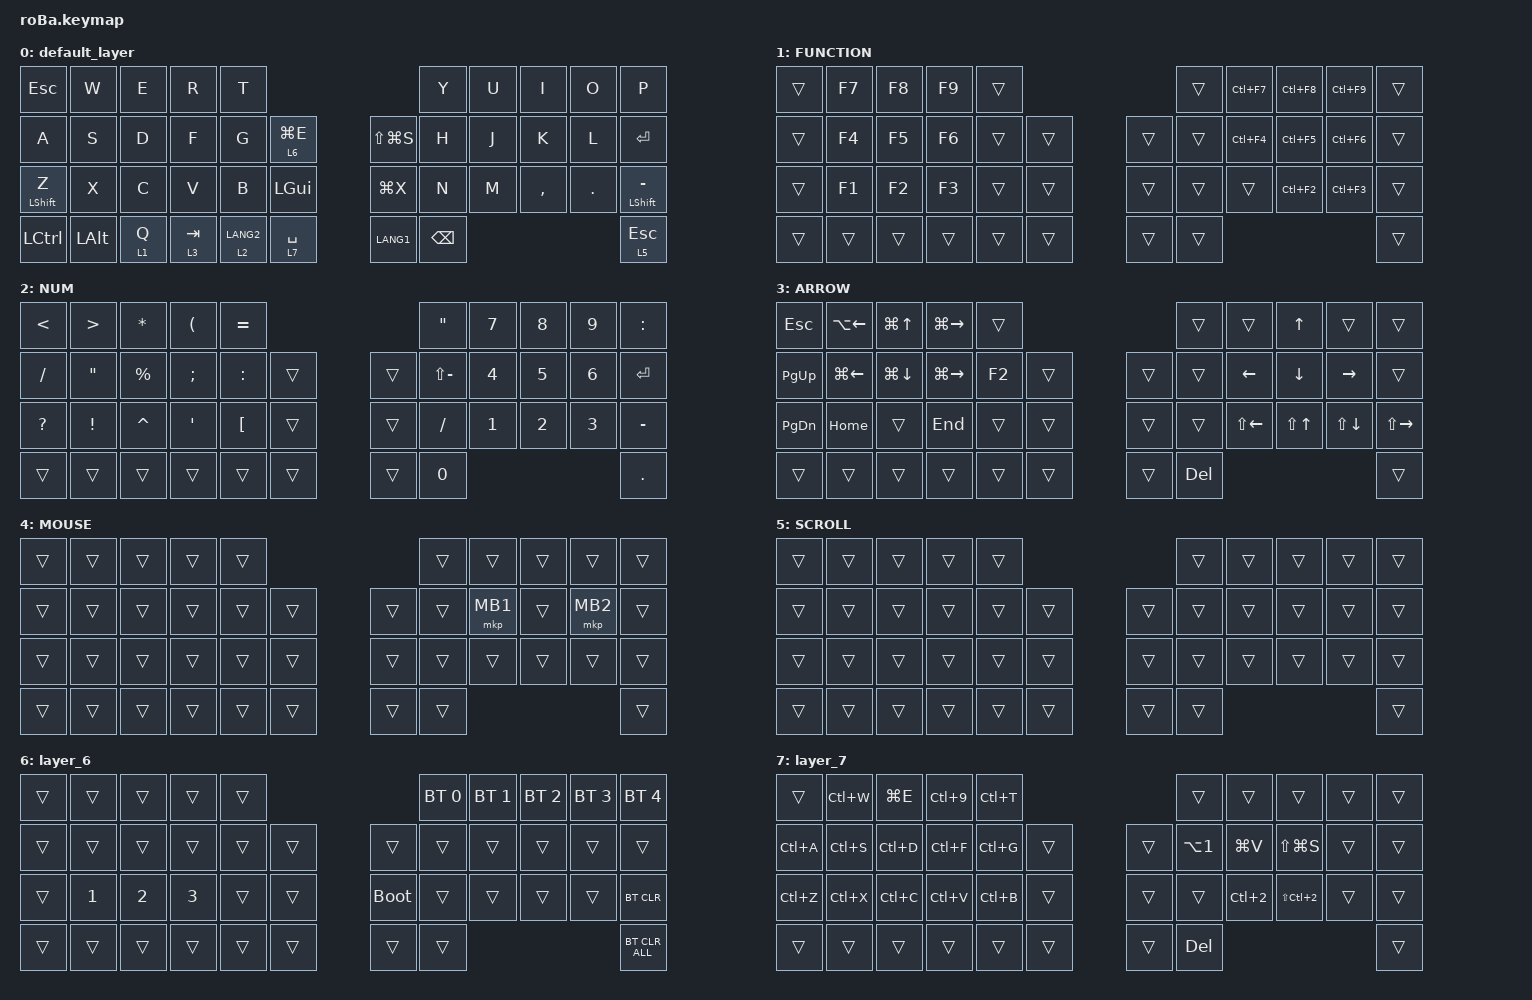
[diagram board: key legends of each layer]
#include <behaviors.dtsi>
#include <dt-bindings/zmk/bt.h>
#include <dt-bindings/zmk/keys.h>
#include <dt-bindings/zmk/pointing.h>

&mt {
    flavor = "balanced";
    quick-tap-ms = <0>;
};

&trackball {
    automouse-layer = <4>;
    scroll-layers = <5>;

    // arrows {
    //     layers = <3>;
    //     bindings =
    //         <&kp RIGHT_ARROW>,
    //         <&kp LEFT_ARROW>,
    //         <&kp UP_ARROW>,
    //         <&kp DOWN_ARROW>;
    //     tick = <10>;
    //     wait-ms = <5>;
    //     tap-ms = <5>;
    // };
};

/ {
    combos {
        compatible = "zmk,combos";

        tab {
            bindings = <&kp TAB>;
            key-positions = <11 12>;
        };

        shift_tab {
            bindings = <&kp LS(TAB)>;
            key-positions = <12 13>;
        };

        muhennkann {
            bindings = <&to_layer_0 INT_MUHENKAN>;
            key-positions = <11 10>;
        };

        double_quotation {
            bindings = <&kp DOUBLE_QUOTES>;
            key-positions = <20 21>;
        };

        eq {
            bindings = <&kp EQUAL>;
            key-positions = <24 25>;
        };
    };

    macros {
        to_layer_0: to_layer_0 {
            compatible = "zmk,behavior-macro-one-param";
            #binding-cells = <1>;
            bindings = <&to 0 &macro_param_1to1 &kp MACRO_PLACEHOLDER>;
            label = "TO_LAYER_0";
        };
    };

    behaviors {
        lt_to_layer_0: lt_to_layer_0 {
            compatible = "zmk,behavior-hold-tap";
            label = "LAYER_TAP_TO_0";
            bindings = <&mo>, <&to_layer_0>;

            #binding-cells = <2>;
            tapping-term-ms = <200>;
        };
    };

    keymap {
        compatible = "zmk,keymap";

        default_layer {
            bindings = <
&kp ESC           &kp W         &kp E    &kp R                 &kp T                                                   &kp Y          &kp U  &kp I      &kp O    &kp P
&kp A             &kp S         &kp D    &kp F                 &kp G        &lt 6 LG(E)                 &kp LS(LG(S))  &kp H          &kp J  &kp K      &kp L    &kp ENTER
&mt LEFT_SHIFT Z  &kp X         &kp C    &kp V                 &kp B        &kp LGUI                    &kp LG(X)      &kp N          &kp M  &kp COMMA  &kp DOT  &mt LEFT_SHIFT MINUS
&kp LCTRL         &kp LEFT_ALT  &lt 1 Q  &lt_to_layer_0 3 TAB  &lt 2 LANG2  &lt_to_layer_0 7 SPACE      &kp LANG1      &kp BACKSPACE                             &lt 5 ESCAPE
            >;
        };

        FUNCTION {
            bindings = <
&trans  &kp F7  &kp F8  &kp F9  &trans                      &trans  &kp LC(F7)  &kp LC(F8)  &kp LC(F9)  &trans
&trans  &kp F4  &kp F5  &kp F6  &trans  &trans      &trans  &trans  &kp LC(F4)  &kp LC(F5)  &kp LC(F6)  &trans
&trans  &kp F1  &kp F2  &kp F3  &trans  &trans      &trans  &trans  &trans      &kp LC(F2)  &kp LC(F3)  &trans
&trans  &trans  &trans  &trans  &trans  &trans      &trans  &trans                                      &trans
            >;
        };

        NUM {
            bindings = <
&kp LESS_THAN  &kp GREATER_THAN   &kp ASTERISK  &kp LEFT_PARENTHESIS  &kp EQUAL                             &kp DOUBLE_QUOTES  &kp N7        &kp N8        &kp N9        &kp COLON
&kp SLASH      &kp DOUBLE_QUOTES  &kp PERCENT   &kp SEMICOLON         &kp COLON         &trans      &trans  &kp LS(MINUS)      &kp NUMBER_4  &kp N5        &kp NUMBER_6  &kp ENTER
&kp QUESTION   &kp EXCLAMATION    &kp CARET     &kp SQT               &kp LEFT_BRACKET  &trans      &trans  &kp SLASH          &kp NUMBER_1  &kp NUMBER_2  &kp NUMBER_3  &kp MINUS
&trans         &trans             &trans        &trans                &trans            &trans      &trans  &kp N0                                                       &kp PERIOD
            >;
        };

        ARROW {
            bindings = <
&kp ESCAPE     &kp LA(LEFT_ARROW)  &kp LG(UP_ARROW)    &kp LG(RIGHT_ARROW)  &trans                      &trans      &trans              &kp UP_ARROW      &trans              &trans
&kp PAGE_UP    &kp LG(LEFT_ARROW)  &kp LG(DOWN_ARROW)  &kp LG(RIGHT_ARROW)  &kp F2  &trans      &trans  &trans      &kp LEFT_ARROW      &kp DOWN_ARROW    &kp RIGHT_ARROW     &trans
&kp PAGE_DOWN  &kp HOME            &trans              &kp END              &trans  &trans      &trans  &trans      &kp LS(LEFT_ARROW)  &kp LS(UP_ARROW)  &kp LS(DOWN_ARROW)  &kp LS(RIGHT_ARROW)
&trans         &trans              &trans              &trans               &trans  &trans      &trans  &kp DELETE                                                            &trans
            >;
        };

        MOUSE {
            bindings = <
&trans  &trans  &trans  &trans  &trans                      &trans  &trans    &trans  &trans    &trans
&trans  &trans  &trans  &trans  &trans  &trans      &trans  &trans  &mkp MB1  &trans  &mkp MB2  &trans
&trans  &trans  &trans  &trans  &trans  &trans      &trans  &trans  &trans    &trans  &trans    &trans
&trans  &trans  &trans  &trans  &trans  &trans      &trans  &trans                              &trans
            >;
        };

        SCROLL {
            bindings = <
&trans  &trans  &trans  &trans  &trans                      &trans  &trans  &trans  &trans  &trans
&trans  &trans  &trans  &trans  &trans  &trans      &trans  &trans  &trans  &trans  &trans  &trans
&trans  &trans  &trans  &trans  &trans  &trans      &trans  &trans  &trans  &trans  &trans  &trans
&trans  &trans  &trans  &trans  &trans  &trans      &trans  &trans                          &trans
            >;
        };

        layer_6 {
            bindings = <
&trans  &trans        &trans        &trans        &trans                           &bt BT_SEL 0  &bt BT_SEL 1  &bt BT_SEL 2  &bt BT_SEL 3  &bt BT_SEL 4
&trans  &trans        &trans        &trans        &trans  &trans      &trans       &trans        &trans        &trans        &trans        &trans
&trans  &kp NUMBER_1  &kp NUMBER_2  &kp NUMBER_3  &trans  &trans      &bootloader  &trans        &trans        &trans        &trans        &bt BT_CLR
&trans  &trans        &trans        &trans        &trans  &trans      &trans       &trans                                                  &bt BT_CLR_ALL
            >;
        };

        layer_7 {
            bindings = <
&trans     &kp LC(W)  &kp LG(E)  &kp LC(N9)  &kp LC(T)                      &trans            &trans            &trans                &trans  &trans
&kp LC(A)  &kp LC(S)  &kp LC(D)  &kp LC(F)   &kp LC(G)  &trans      &trans  &kp LA(NUMBER_1)  &kp LG(V)         &kp LS(LG(S))         &trans  &trans
&kp LC(Z)  &kp LC(X)  &kp LC(C)  &kp LC(V)   &kp LC(B)  &trans      &trans  &trans            &kp LC(NUMBER_2)  &kp LS(LC(NUMBER_2))  &trans  &trans
&trans     &trans     &trans     &trans      &trans     &trans      &trans  &kp DELETE                                                        &trans
            >;
        };
    };
};
